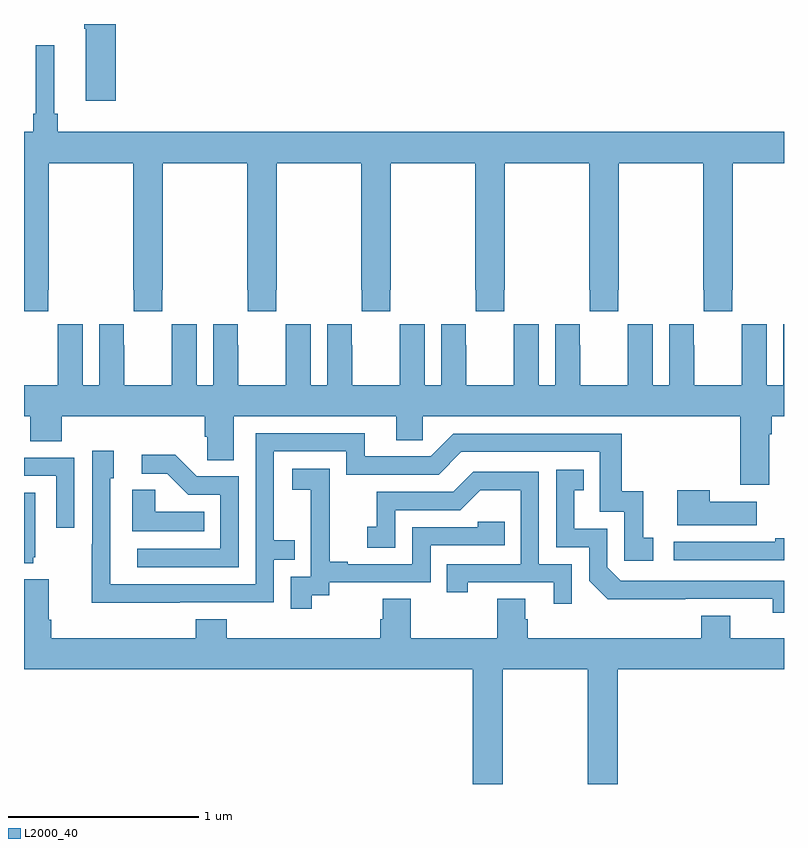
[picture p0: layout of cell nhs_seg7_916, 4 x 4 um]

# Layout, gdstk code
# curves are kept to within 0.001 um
import gdstk
lib = gdstk.Library(unit=1e-6, precision=1e-09)
def P(c, l, *ps):  # polygons
    for p in ps: c.add(gdstk.Polygon(p, *l))
L2000_40 = (2000, 40)

nhs_seg7_916 = lib.new_cell('nhs_seg7_916')
P(nhs_seg7_916, L2000_40, [(179.483,1016),(179.317,1016),(179.317,1015.975),(179.324,1015.975),(179.324,1015.596),(179.483,1015.596)],
  [(179.127,1014.601),(179.13,1014.601),(179.13,1015.268),(179.575,1015.268),(179.575,1014.601),(179.577,1014.601),(179.577,1014.489),(179.727,1014.489),(179.727,1014.601),(179.73,1014.601),(179.73,1015.268),(180.175,1015.268),(180.175,1014.601),(180.177,1014.601),(180.177,1014.489),(180.327,1014.489),(180.327,1014.601),(180.33,1014.601),(180.33,1015.268),(180.775,1015.268),(180.775,1014.601),(180.777,1014.601),(180.777,1014.489),(180.927,1014.489),(180.927,1014.601),(180.93,1014.601),(180.93,1015.268),(181.375,1015.268),(181.375,1014.601),(181.377,1014.601),(181.377,1014.489),(181.527,1014.489),(181.527,1014.601),(181.53,1014.601),(181.53,1015.268),(181.975,1015.268),(181.975,1014.601),(181.977,1014.601),(181.977,1014.489),(182.127,1014.489),(182.127,1014.601),(182.13,1014.601),(182.13,1015.268),(182.575,1015.268),(182.575,1014.601),(182.577,1014.601),(182.577,1014.489),(182.727,1014.489),(182.727,1014.601),(182.73,1014.601),(182.73,1015.268),(183,1015.268),(183,1015.432),(179.177,1015.432),(179.177,1015.528),(179.158,1015.528),(179.158,1015.888),(179.061,1015.888),(179.061,1015.528),(179.048,1015.528),(179.048,1015.432),(179,1015.432),(179,1014.489),(179.127,1014.489)],
  [(180.378,1014.421),(180.378,1014.308),(180.377,1014.308),(180.377,1014.1),(180.127,1014.1),(180.127,1014.308),(180.126,1014.308),(180.126,1014.421),(179.996,1014.421),(179.996,1014.1),(179.908,1014.1),(179.908,1014.421),(179.778,1014.421),(179.778,1014.308),(179.777,1014.308),(179.777,1014.1),(179.527,1014.1),(179.527,1014.308),(179.526,1014.308),(179.526,1014.421),(179.396,1014.421),(179.396,1014.1),(179.308,1014.1),(179.308,1014.421),(179.178,1014.421),(179.178,1014.308),(179.177,1014.308),(179.177,1014.1),(179,1014.1),(179,1013.936),(179.033,1013.936),(179.033,1013.803),(179.198,1013.803),(179.198,1013.936),(179.951,1013.936),(179.951,1013.827),(179.964,1013.827),(179.964,1013.704),(180.103,1013.704),(180.103,1013.936),(180.959,1013.936),(180.959,1013.809),(181.098,1013.809),(181.098,1013.936),(182.771,1013.936),(182.771,1013.574),(182.923,1013.574),(182.923,1013.84),(182.936,1013.84),(182.936,1013.936),(183,1013.936),(183,1014.421),(182.996,1014.421),(182.996,1014.1),(182.908,1014.1),(182.908,1014.421),(182.778,1014.421),(182.778,1014.308),(182.777,1014.308),(182.777,1014.1),(182.527,1014.1),(182.527,1014.308),(182.526,1014.308),(182.526,1014.421),(182.396,1014.421),(182.396,1014.1),(182.308,1014.1),(182.308,1014.421),(182.178,1014.421),(182.178,1014.308),(182.177,1014.308),(182.177,1014.1),(181.927,1014.1),(181.927,1014.308),(181.926,1014.308),(181.926,1014.421),(181.796,1014.421),(181.796,1014.1),(181.708,1014.1),(181.708,1014.421),(181.578,1014.421),(181.578,1014.308),(181.577,1014.308),(181.577,1014.1),(181.327,1014.1),(181.327,1014.308),(181.326,1014.308),(181.326,1014.421),(181.196,1014.421),(181.196,1014.1),(181.108,1014.1),(181.108,1014.421),(180.978,1014.421),(180.978,1014.308),(180.977,1014.308),(180.977,1014.1),(180.727,1014.1),(180.727,1014.308),(180.726,1014.308),(180.726,1014.421),(180.596,1014.421),(180.596,1014.1),(180.508,1014.1),(180.508,1014.421)],
  [(179.819,1012.956),(180.315,1012.956),(180.315,1013.181),(180.425,1013.181),(180.425,1013.282),(180.315,1013.282),(180.315,1013.751),(180.696,1013.751),(180.696,1013.628),(181.182,1013.628),(181.302,1013.748),(182.031,1013.748),(182.031,1013.433),(182.16,1013.433),(182.16,1013.175),(182.311,1013.175),(182.311,1013.295),(182.258,1013.295),(182.258,1013.542),(182.147,1013.542),(182.147,1013.844),(181.26,1013.844),(181.14,1013.724),(180.793,1013.724),(180.793,1013.847),(180.219,1013.847),(180.219,1013.052),(179.454,1013.052),(179.454,1013.61),(179.473,1013.61),(179.473,1013.755),(179.358,1013.755),(179.358,1013.261),(179.356,1013.261),(179.356,1012.955)],
  [(180.129,1013.619),(179.91,1013.619),(179.797,1013.732),(179.619,1013.732),(179.619,1013.634),(179.753,1013.634),(179.864,1013.523),(180.033,1013.523),(180.033,1013.238),(179.595,1013.238),(179.595,1013.142),(180.129,1013.142)],
  [(179.265,1013.718),(179,1013.718),(179,1013.622),(179.169,1013.622),(179.169,1013.349),(179.265,1013.349)],
  [(180.514,1012.993),(180.606,1012.993),(180.606,1013.061),(181.14,1013.061),(181.14,1013.256),(181.529,1013.256),(181.529,1013.379),(181.389,1013.379),(181.389,1013.352),(181.044,1013.352),(181.044,1013.157),(180.703,1013.157),(180.703,1013.17),(180.608,1013.17),(180.608,1013.453),(180.609,1013.453),(180.609,1013.659),(180.411,1013.659),(180.411,1013.549),(180.509,1013.549),(180.509,1013.321),(180.51,1013.321),(180.51,1013.091),(180.405,1013.091),(180.405,1012.923),(180.514,1012.923)],
  [(183,1013.07),(182.142,1013.07),(182.07,1013.142),(182.07,1013.343),(181.897,1013.343),(181.897,1013.547),(181.946,1013.547),(181.946,1013.653),(181.8,1013.653),(181.8,1013.247),(181.974,1013.247),(181.974,1013.07),(182.072,1012.973),(182.94,1012.974),(182.94,1012.901),(183,1012.901)],
  [(181.884,1013.157),(181.71,1013.157),(181.71,1013.643),(181.364,1013.643),(181.259,1013.538),(180.856,1013.538),(180.856,1013.353),(180.807,1013.353),(180.807,1013.244),(180.954,1013.244),(180.954,1013.442),(181.296,1013.442),(181.4,1013.546),(181.614,1013.546),(181.614,1013.157),(181.225,1013.157),(181.225,1013.01),(181.336,1013.01),(181.336,1013.061),(181.787,1013.061),(181.787,1012.95),(181.884,1012.95)],
  [(179.948,1013.434),(179.691,1013.434),(179.691,1013.549),(179.57,1013.549),(179.57,1013.33),(179.948,1013.33)],
  [(182.857,1013.485),(182.609,1013.485),(182.609,1013.545),(182.438,1013.545),(182.438,1013.363),(182.857,1013.363)],
  [(179.048,1013.193),(179.059,1013.193),(179.059,1013.533),(179,1013.533),(179,1013.162),(179.048,1013.162)],
  [(183,1013.294),(182.953,1013.294),(182.953,1013.274),(182.421,1013.274),(182.421,1013.178),(183,1013.178)],
  [(181.521,1012.604),(181.966,1012.604),(181.966,1012),(182.126,1012),(182.126,1012.604),(183,1012.604),(183,1012.768),(182.716,1012.768),(182.716,1012.885),(182.564,1012.885),(182.564,1012.768),(181.652,1012.768),(181.652,1012.866),(181.639,1012.866),(181.639,1012.976),(181.492,1012.976),(181.492,1012.768),(181.035,1012.768),(181.035,1012.976),(180.887,1012.976),(180.887,1012.866),(180.875,1012.866),(180.875,1012.768),(180.068,1012.768),(180.068,1012.867),(179.903,1012.867),(179.903,1012.768),(179.144,1012.768),(179.144,1012.864),(179.131,1012.864),(179.131,1013.077),(179,1013.077),(179,1012.604),(181.361,1012.604),(181.361,1012),(181.521,1012)])

lib.write_gds('nhs_seg7_916.gds')
